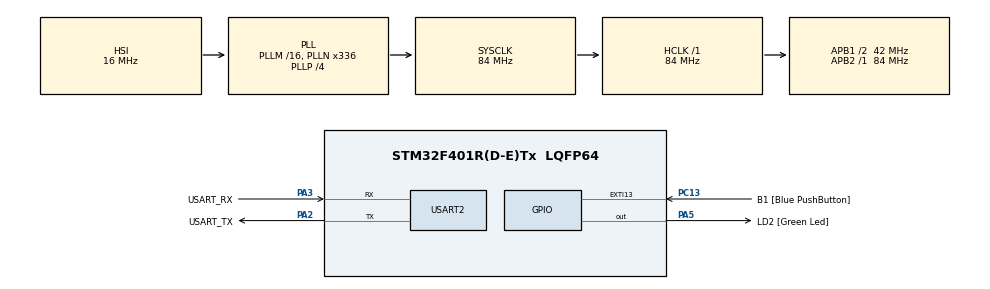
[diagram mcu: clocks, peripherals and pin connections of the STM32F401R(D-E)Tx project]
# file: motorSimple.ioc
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Mcu.Family=STM32F4
Mcu.Name=STM32F401R(D-E)Tx
Mcu.Package=LQFP64
NVIC.PriorityGroup=NVIC_PRIORITYGROUP_0
PA13.GPIO_Label=TMS
PA13.Mode=Serial_Wire
PA13.Signal=SYS_JTMS-SWDIO
PA14.GPIO_Label=TCK
PA14.Mode=Serial_Wire
PA14.Signal=SYS_JTCK-SWCLK
PA2.GPIO_Label=USART_TX
PA2.GPIO_Mode=GPIO_MODE_AF_PP
PA2.GPIO_PuPd=GPIO_NOPULL
PA2.GPIO_Speed=GPIO_SPEED_FREQ_LOW
PA2.Mode=Asynchronous
PA2.Signal=USART2_TX
PA3.GPIO_Label=USART_RX
PA3.GPIO_Mode=GPIO_MODE_AF_PP
PA3.GPIO_PuPd=GPIO_NOPULL
PA3.GPIO_Speed=GPIO_SPEED_FREQ_LOW
PA3.Mode=Asynchronous
PA3.Signal=USART2_RX
PA5.GPIO_Label=LD2 [Green Led]
PA5.GPIO_Mode=GPIO_MODE_OUTPUT_PP
PA5.GPIO_PuPd=GPIO_NOPULL
PA5.GPIO_Speed=GPIO_SPEED_FREQ_LOW
PA5.Signal=GPIO_Output
PB3.GPIO_Label=SWO
PB3.Signal=SYS_JTDO-SWO
PC13-ANTI_TAMP.GPIO_Label=B1 [Blue PushButton]
PC13-ANTI_TAMP.GPIO_ModeDefaultEXTI=GPIO_MODE_IT_FALLING
PC13-ANTI_TAMP.GPIO_PuPd=GPIO_NOPULL
PC13-ANTI_TAMP.Signal=GPXTI13
PC14-OSC32_IN.Mode=LSE-External-Oscillator
PC14-OSC32_IN.Signal=RCC_OSC32_IN
PC15-OSC32_OUT.Mode=LSE-External-Oscillator
PC15-OSC32_OUT.Signal=RCC_OSC32_OUT
PH0\ -\ OSC_IN.Mode=HSE-External-Clock-Source
PH0\ -\ OSC_IN.Signal=RCC_OSC_IN
PH1\ -\ OSC_OUT.Mode=HSE-External-Clock-Source
PH1\ -\ OSC_OUT.Signal=RCC_OSC_OUT
ProjectManager.HeapSize=0x200
ProjectManager.StackSize=0x400
ProjectManager.TargetToolchain=STM32CubeIDE
RCC.48MHZClocksFreq_Value=48000000
RCC.AHBFreq_Value=84000000
RCC.APB1CLKDivider=RCC_HCLK_DIV2
RCC.APB1Freq_Value=42000000
RCC.APB1TimFreq_Value=84000000
RCC.APB2Freq_Value=84000000
RCC.APB2TimFreq_Value=84000000
RCC.CortexFreq_Value=84000000
RCC.HCLKFreq_Value=84000000
RCC.HSE_VALUE=8000000
RCC.HSI_VALUE=16000000
RCC.PLLN=336
RCC.PLLP=RCC_PLLP_DIV4
RCC.PLLQ=7
RCC.SYSCLKFreq_VALUE=84000000
RCC.SYSCLKSource=RCC_SYSCLKSOURCE_PLLCLK
RCC.VCOOutputFreq_Value=336000000
USART2.VirtualMode=VM_ASYNC
board=NUCLEO-F401RE

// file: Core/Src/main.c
/* USER CODE BEGIN Header */
/**
  ******************************************************************************
  * @file           : main.c
  * @brief          : Main program body
  ******************************************************************************
  * @attention
  *
  * Copyright (c) 2023 STMicroelectronics.
  * All rights reserved.
  *
  * This software is licensed under terms that can be found in the LICENSE file
  * in the root directory of this software component.
  * If no LICENSE file comes with this software, it is provided AS-IS.
  *
  ******************************************************************************
  */
/* USER CODE END Header */
#include "main.h"

/* USER CODE BEGIN Includes */
#include "mctrl.h"
#include "string.h"
#include "stdio.h"
#include "math.h"
#include <stdlib.h>
/* USER CODE END Includes */

UART_HandleTypeDef huart2;

void SystemClock_Config(void);
static void MX_GPIO_Init(void);
static void MX_USART2_UART_Init(void);
/* USER CODE BEGIN PFP */
void M_control_Init(void);
void M_movement(char dir, int pwmcnt);
#define PUTCHAR_PROTOTYPE int __io_putchar(int ch)
#define GETCHAR_PROTOTYPE int __io_getchar(void)
/* USER CODE END PFP */

int main(void)
{

  /* USER CODE BEGIN 1 */
	char istr[15]={0};
	char icnt[15]={0};
	int ii=0;

  /* USER CODE END 1 */

  /* MCU Configuration--------------------------------------------------------*/

  /* Reset of all peripherals, Initializes the Flash interface and the Systick. */
  HAL_Init();

  /* Configure the system clock */
  SystemClock_Config();

  /* Initialize all configured peripherals */
  MX_GPIO_Init();
  MX_USART2_UART_Init();
  /* USER CODE BEGIN 2 */
  M_control_Init();
  setvbuf(stdin, NULL, _IONBF, 0); //GCC buffer issue. https://community.st.com/t5/stm32-mcus-products/scanf-with-nucleo-f401re-stm-eclipse-c-ide/td-p/424234?fbclid=IwAR12Jsawh-nqRi1aeBax-zXrVea21alQWTXCCy4CMHXJFvmUkGIskIVV_To

  /* USER CODE END 2 */

  /* Infinite loop */
  while (1)
  {
	 // accept command - command format e.g F500 or R1000
	printf("Pls input command:");
	scanf("%s", istr);

	for(ii=1;ii<strlen(istr);ii++)
	{
		icnt[ii-1]=istr[ii];
	}
	icnt[ii-1]='\n';
	printf("\n\r count:%d\n\r",atoi(icnt));

	M_movement(istr[0],atoi(icnt));

  }
}

void SystemClock_Config(void)
{
  RCC_OscInitTypeDef RCC_OscInitStruct = {0};
  RCC_ClkInitTypeDef RCC_ClkInitStruct = {0};

  /** Configure the main internal regulator output voltage
  */
  __HAL_RCC_PWR_CLK_ENABLE();
  __HAL_PWR_VOLTAGESCALING_CONFIG(PWR_REGULATOR_VOLTAGE_SCALE2);

  /** Initializes the RCC Oscillators according to the specified parameters
  * in the RCC_OscInitTypeDef structure.
  */
  RCC_OscInitStruct.OscillatorType = RCC_OSCILLATORTYPE_HSI;
  RCC_OscInitStruct.HSIState = RCC_HSI_ON;
  RCC_OscInitStruct.HSICalibrationValue = RCC_HSICALIBRATION_DEFAULT;
  RCC_OscInitStruct.PLL.PLLState = RCC_PLL_ON;
  RCC_OscInitStruct.PLL.PLLSource = RCC_PLLSOURCE_HSI;
  RCC_OscInitStruct.PLL.PLLM = 16;
  RCC_OscInitStruct.PLL.PLLN = 336;
  RCC_OscInitStruct.PLL.PLLP = RCC_PLLP_DIV4;
  RCC_OscInitStruct.PLL.PLLQ = 7;
  if (HAL_RCC_OscConfig(&RCC_OscInitStruct) != HAL_OK)
  {
    Error_Handler();
  }

  /** Initializes the CPU, AHB and APB buses clocks
  */
  RCC_ClkInitStruct.ClockType = RCC_CLOCKTYPE_HCLK|RCC_CLOCKTYPE_SYSCLK
                              |RCC_CLOCKTYPE_PCLK1|RCC_CLOCKTYPE_PCLK2;
  RCC_ClkInitStruct.SYSCLKSource = RCC_SYSCLKSOURCE_PLLCLK;
  RCC_ClkInitStruct.AHBCLKDivider = RCC_SYSCLK_DIV1;
  RCC_ClkInitStruct.APB1CLKDivider = RCC_HCLK_DIV2;
  RCC_ClkInitStruct.APB2CLKDivider = RCC_HCLK_DIV1;

  if (HAL_RCC_ClockConfig(&RCC_ClkInitStruct, FLASH_LATENCY_2) != HAL_OK)
  {
    Error_Handler();
  }
}

static void MX_USART2_UART_Init(void)
{

  huart2.Instance = USART2;
  huart2.Init.BaudRate = 9600;
  huart2.Init.WordLength = UART_WORDLENGTH_8B;
  huart2.Init.StopBits = UART_STOPBITS_1;
  huart2.Init.Parity = UART_PARITY_NONE;
  huart2.Init.Mode = UART_MODE_TX_RX;
  huart2.Init.HwFlowCtl = UART_HWCONTROL_NONE;
  huart2.Init.OverSampling = UART_OVERSAMPLING_16;
  if (HAL_UART_Init(&huart2) != HAL_OK)
  {
    Error_Handler();
  }

}

static void MX_GPIO_Init(void)
{
  GPIO_InitTypeDef GPIO_InitStruct = {0};

  /* GPIO Ports Clock Enable */
  __HAL_RCC_GPIOC_CLK_ENABLE();
  __HAL_RCC_GPIOH_CLK_ENABLE();
  __HAL_RCC_GPIOA_CLK_ENABLE();
  __HAL_RCC_GPIOB_CLK_ENABLE();

  /*Configure GPIO pin Output Level */
  HAL_GPIO_WritePin(LD2_GPIO_Port, LD2_Pin, GPIO_PIN_RESET);

  /*Configure GPIO pin : B1_Pin */
  GPIO_InitStruct.Pin = B1_Pin;
  GPIO_InitStruct.Mode = GPIO_MODE_IT_FALLING;
  GPIO_InitStruct.Pull = GPIO_NOPULL;
  HAL_GPIO_Init(B1_GPIO_Port, &GPIO_InitStruct);

  /*Configure GPIO pin : LD2_Pin */
  GPIO_InitStruct.Pin = LD2_Pin;
  GPIO_InitStruct.Mode = GPIO_MODE_OUTPUT_PP;
  GPIO_InitStruct.Pull = GPIO_NOPULL;
  GPIO_InitStruct.Speed = GPIO_SPEED_FREQ_LOW;
  HAL_GPIO_Init(LD2_GPIO_Port, &GPIO_InitStruct);

}

/* USER CODE BEGIN 4 */
void M_control_Init(void){
	GPIO_InitTypeDef GPIO_InitStruct = {0};

	/* Enable pin to low */
	HAL_GPIO_WritePin(Motor_Control_Port, EN_Pin, GPIO_PIN_RESET);

	GPIO_InitStruct.Pin = EN_Pin;
	GPIO_InitStruct.Mode = GPIO_MODE_OUTPUT_PP;
	GPIO_InitStruct.Pull = GPIO_NOPULL;
	GPIO_InitStruct.Speed = GPIO_SPEED_FREQ_LOW;
	HAL_GPIO_Init(Motor_Control_Port, &GPIO_InitStruct);

	GPIO_InitStruct.Pin = DIR_Pin;
	GPIO_InitStruct.Mode = GPIO_MODE_OUTPUT_PP;
	GPIO_InitStruct.Pull = GPIO_NOPULL;
	GPIO_InitStruct.Speed = GPIO_SPEED_FREQ_LOW;
	HAL_GPIO_Init(Motor_Control_Port, &GPIO_InitStruct);

	GPIO_InitStruct.Pin = PUL_Pin;
	GPIO_InitStruct.Mode = GPIO_MODE_OUTPUT_PP;
	GPIO_InitStruct.Pull = GPIO_NOPULL;
	GPIO_InitStruct.Speed = GPIO_SPEED_FREQ_LOW;
	HAL_GPIO_Init(Motor_Control_Port, &GPIO_InitStruct);
}
void M_movement(char dir, int pwmcnt){
	uint32_t ii;

	if (dir == 'F')
	{
	  HAL_GPIO_WritePin(Motor_Control_Port, DIR_Pin, GPIO_PIN_SET);
	}
	else if(dir == 'R')
	{
	  HAL_GPIO_WritePin(Motor_Control_Port, DIR_Pin, GPIO_PIN_RESET);
	}
	else
	{
		//
		while(1){} //error assert
	}
	  // pulse
	for(ii=0;ii<pwmcnt;ii++)
	  {
		  HAL_GPIO_WritePin(Motor_Control_Port, PUL_Pin, GPIO_PIN_SET);
		  HAL_Delay(1);
		  HAL_GPIO_WritePin(Motor_Control_Port, PUL_Pin, GPIO_PIN_RESET);
		  HAL_Delay(1);
	  }
}
/**
  * @brief  Retargets the C library printf function to the USART.
  * @param  None
  * @retval None
  */
PUTCHAR_PROTOTYPE
{
  /* Place your implementation of fputc here */
  /* e.g. write a character to the USART1 and Loop until the end of transmission */
  HAL_UART_Transmit(&huart2, (uint8_t *)&ch, 1, 0xFFFF);

  return ch;
}
GETCHAR_PROTOTYPE
{
  uint8_t ch = 0;

  // Clear the Overrun flag just before receiving the first character
  __HAL_UART_CLEAR_OREFLAG(&huart2);

  // Wait for reception of a character on the USART RX line and echo this
   // character on console
  HAL_UART_Receive(&huart2, (uint8_t *)&ch, 1, HAL_MAX_DELAY);
  HAL_UART_Transmit(&huart2, (uint8_t *)&ch, 1, HAL_MAX_DELAY);
  return ch;
}
/* USER CODE END 4 */

void Error_Handler(void)
{
  __disable_irq();
  while (1)
  {
  }
}
